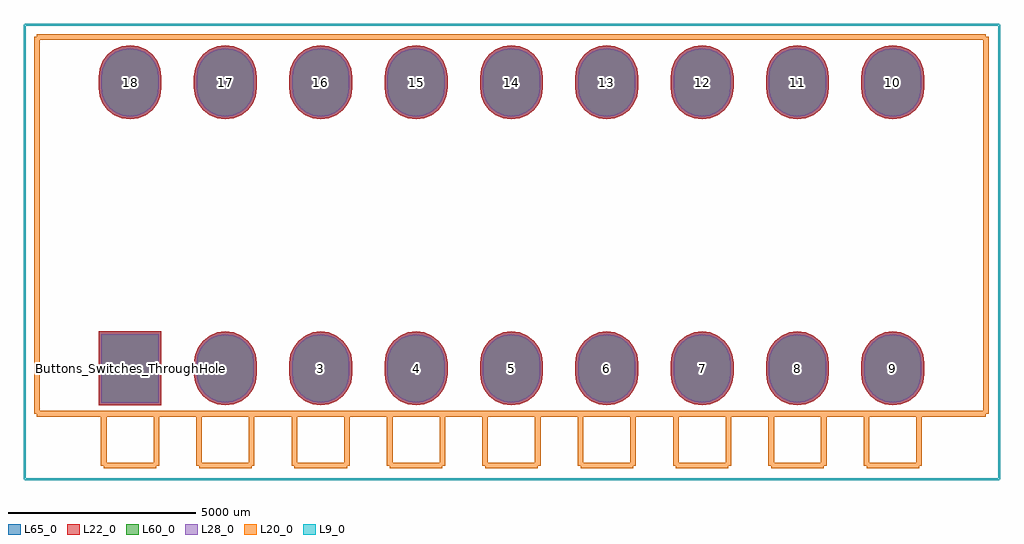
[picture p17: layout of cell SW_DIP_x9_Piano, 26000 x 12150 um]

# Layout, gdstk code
import gdstk
lib = gdstk.Library(unit=1e-6, precision=1e-09)
def R(c, l, rs):  # rectangles x0, y0, x1, y1
    for r in rs: c.add(gdstk.rectangle(r[:2], r[2:], *l))
def P(c, l, *ps):  # polygons
    for p in ps: c.add(gdstk.Polygon(p, *l))
L9_0 = (9, 0)
L20_0 = (20, 0)
L22_0 = (22, 0)
L28_0 = (28, 0)
L60_0 = (60, 0)
L65_0 = (65, 0)

sw_dip_x9_piano = lib.new_cell('SW_DIP_x9_Piano')
R(sw_dip_x9_piano, L22_0, [(-837,-987,837,987)])
P(sw_dip_x9_piano, L22_0, [(20320,6633),(20536.632,6661.52),(20738.5,6745.137),(20911.848,6878.152),(21044.863,7051.5),(21128.48,7253.368),(21157,7470),(21157,7770),(21128.48,7986.632),(21044.863,8188.5),(20911.848,8361.848),(20738.5,8494.863),(20536.632,8578.48),(20320,8607),(20103.368,8578.48),(19901.5,8494.863),(19728.152,8361.848),(19595.137,8188.5),(19511.52,7986.632),(19483,7770),(19483,7470),(19511.52,7253.368),(19595.137,7051.5),(19728.152,6878.152),(19901.5,6745.137),(20103.368,6661.52)],
  [(20320,-987),(20536.632,-958.48),(20738.5,-874.863),(20911.848,-741.848),(21044.863,-568.5),(21128.48,-366.632),(21157,-150),(21157,150),(21128.48,366.632),(21044.863,568.5),(20911.848,741.848),(20738.5,874.863),(20536.632,958.48),(20320,987),(20103.368,958.48),(19901.5,874.863),(19728.152,741.848),(19595.137,568.5),(19511.52,366.632),(19483,150),(19483,-150),(19511.52,-366.632),(19595.137,-568.5),(19728.152,-741.848),(19901.5,-874.863),(20103.368,-958.48)],
  [(17780,6633),(17996.632,6661.52),(18198.5,6745.137),(18371.848,6878.152),(18504.863,7051.5),(18588.48,7253.368),(18617,7470),(18617,7770),(18588.48,7986.632),(18504.863,8188.5),(18371.848,8361.848),(18198.5,8494.863),(17996.632,8578.48),(17780,8607),(17563.368,8578.48),(17361.5,8494.863),(17188.152,8361.848),(17055.137,8188.5),(16971.52,7986.632),(16943,7770),(16943,7470),(16971.52,7253.368),(17055.137,7051.5),(17188.152,6878.152),(17361.5,6745.137),(17563.368,6661.52)],
  [(17780,-987),(17996.632,-958.48),(18198.5,-874.863),(18371.848,-741.848),(18504.863,-568.5),(18588.48,-366.632),(18617,-150),(18617,150),(18588.48,366.632),(18504.863,568.5),(18371.848,741.848),(18198.5,874.863),(17996.632,958.48),(17780,987),(17563.368,958.48),(17361.5,874.863),(17188.152,741.848),(17055.137,568.5),(16971.52,366.632),(16943,150),(16943,-150),(16971.52,-366.632),(17055.137,-568.5),(17188.152,-741.848),(17361.5,-874.863),(17563.368,-958.48)],
  [(15240,6633),(15456.632,6661.52),(15658.5,6745.137),(15831.848,6878.152),(15964.863,7051.5),(16048.48,7253.368),(16077,7470),(16077,7770),(16048.48,7986.632),(15964.863,8188.5),(15831.848,8361.848),(15658.5,8494.863),(15456.632,8578.48),(15240,8607),(15023.368,8578.48),(14821.5,8494.863),(14648.152,8361.848),(14515.137,8188.5),(14431.52,7986.632),(14403,7770),(14403,7470),(14431.52,7253.368),(14515.137,7051.5),(14648.152,6878.152),(14821.5,6745.137),(15023.368,6661.52)],
  [(15240,-987),(15456.632,-958.48),(15658.5,-874.863),(15831.848,-741.848),(15964.863,-568.5),(16048.48,-366.632),(16077,-150),(16077,150),(16048.48,366.632),(15964.863,568.5),(15831.848,741.848),(15658.5,874.863),(15456.632,958.48),(15240,987),(15023.368,958.48),(14821.5,874.863),(14648.152,741.848),(14515.137,568.5),(14431.52,366.632),(14403,150),(14403,-150),(14431.52,-366.632),(14515.137,-568.5),(14648.152,-741.848),(14821.5,-874.863),(15023.368,-958.48)],
  [(12700,6633),(12916.632,6661.52),(13118.5,6745.137),(13291.848,6878.152),(13424.863,7051.5),(13508.48,7253.368),(13537,7470),(13537,7770),(13508.48,7986.632),(13424.863,8188.5),(13291.848,8361.848),(13118.5,8494.863),(12916.632,8578.48),(12700,8607),(12483.368,8578.48),(12281.5,8494.863),(12108.152,8361.848),(11975.137,8188.5),(11891.52,7986.632),(11863,7770),(11863,7470),(11891.52,7253.368),(11975.137,7051.5),(12108.152,6878.152),(12281.5,6745.137),(12483.368,6661.52)],
  [(12700,-987),(12916.632,-958.48),(13118.5,-874.863),(13291.848,-741.848),(13424.863,-568.5),(13508.48,-366.632),(13537,-150),(13537,150),(13508.48,366.632),(13424.863,568.5),(13291.848,741.848),(13118.5,874.863),(12916.632,958.48),(12700,987),(12483.368,958.48),(12281.5,874.863),(12108.152,741.848),(11975.137,568.5),(11891.52,366.632),(11863,150),(11863,-150),(11891.52,-366.632),(11975.137,-568.5),(12108.152,-741.848),(12281.5,-874.863),(12483.368,-958.48)],
  [(10160,6633),(10376.632,6661.52),(10578.5,6745.137),(10751.848,6878.152),(10884.863,7051.5),(10968.48,7253.368),(10997,7470),(10997,7770),(10968.48,7986.632),(10884.863,8188.5),(10751.848,8361.848),(10578.5,8494.863),(10376.632,8578.48),(10160,8607),(9943.368,8578.48),(9741.5,8494.863),(9568.152,8361.848),(9435.137,8188.5),(9351.52,7986.632),(9323,7770),(9323,7470),(9351.52,7253.368),(9435.137,7051.5),(9568.152,6878.152),(9741.5,6745.137),(9943.368,6661.52)],
  [(10160,-987),(10376.632,-958.48),(10578.5,-874.863),(10751.848,-741.848),(10884.863,-568.5),(10968.48,-366.632),(10997,-150),(10997,150),(10968.48,366.632),(10884.863,568.5),(10751.848,741.848),(10578.5,874.863),(10376.632,958.48),(10160,987),(9943.368,958.48),(9741.5,874.863),(9568.152,741.848),(9435.137,568.5),(9351.52,366.632),(9323,150),(9323,-150),(9351.52,-366.632),(9435.137,-568.5),(9568.152,-741.848),(9741.5,-874.863),(9943.368,-958.48)],
  [(7620,6633),(7836.632,6661.52),(8038.5,6745.137),(8211.848,6878.152),(8344.863,7051.5),(8428.48,7253.368),(8457,7470),(8457,7770),(8428.48,7986.632),(8344.863,8188.5),(8211.848,8361.848),(8038.5,8494.863),(7836.632,8578.48),(7620,8607),(7403.368,8578.48),(7201.5,8494.863),(7028.152,8361.848),(6895.137,8188.5),(6811.52,7986.632),(6783,7770),(6783,7470),(6811.52,7253.368),(6895.137,7051.5),(7028.152,6878.152),(7201.5,6745.137),(7403.368,6661.52)],
  [(7620,-987),(7836.632,-958.48),(8038.5,-874.863),(8211.848,-741.848),(8344.863,-568.5),(8428.48,-366.632),(8457,-150),(8457,150),(8428.48,366.632),(8344.863,568.5),(8211.848,741.848),(8038.5,874.863),(7836.632,958.48),(7620,987),(7403.368,958.48),(7201.5,874.863),(7028.152,741.848),(6895.137,568.5),(6811.52,366.632),(6783,150),(6783,-150),(6811.52,-366.632),(6895.137,-568.5),(7028.152,-741.848),(7201.5,-874.863),(7403.368,-958.48)],
  [(5080,6633),(5296.632,6661.52),(5498.5,6745.137),(5671.848,6878.152),(5804.863,7051.5),(5888.48,7253.368),(5917,7470),(5917,7770),(5888.48,7986.632),(5804.863,8188.5),(5671.848,8361.848),(5498.5,8494.863),(5296.632,8578.48),(5080,8607),(4863.368,8578.48),(4661.5,8494.863),(4488.152,8361.848),(4355.137,8188.5),(4271.52,7986.632),(4243,7770),(4243,7470),(4271.52,7253.368),(4355.137,7051.5),(4488.152,6878.152),(4661.5,6745.137),(4863.368,6661.52)],
  [(5080,-987),(5296.632,-958.48),(5498.5,-874.863),(5671.848,-741.848),(5804.863,-568.5),(5888.48,-366.632),(5917,-150),(5917,150),(5888.48,366.632),(5804.863,568.5),(5671.848,741.848),(5498.5,874.863),(5296.632,958.48),(5080,987),(4863.368,958.48),(4661.5,874.863),(4488.152,741.848),(4355.137,568.5),(4271.52,366.632),(4243,150),(4243,-150),(4271.52,-366.632),(4355.137,-568.5),(4488.152,-741.848),(4661.5,-874.863),(4863.368,-958.48)],
  [(2540,6633),(2756.632,6661.52),(2958.5,6745.137),(3131.848,6878.152),(3264.863,7051.5),(3348.48,7253.368),(3377,7470),(3377,7770),(3348.48,7986.632),(3264.863,8188.5),(3131.848,8361.848),(2958.5,8494.863),(2756.632,8578.48),(2540,8607),(2323.368,8578.48),(2121.5,8494.863),(1948.152,8361.848),(1815.137,8188.5),(1731.52,7986.632),(1703,7770),(1703,7470),(1731.52,7253.368),(1815.137,7051.5),(1948.152,6878.152),(2121.5,6745.137),(2323.368,6661.52)],
  [(2540,-987),(2756.632,-958.48),(2958.5,-874.863),(3131.848,-741.848),(3264.863,-568.5),(3348.48,-366.632),(3377,-150),(3377,150),(3348.48,366.632),(3264.863,568.5),(3131.848,741.848),(2958.5,874.863),(2756.632,958.48),(2540,987),(2323.368,958.48),(2121.5,874.863),(1948.152,741.848),(1815.137,568.5),(1731.52,366.632),(1703,150),(1703,-150),(1731.52,-366.632),(1815.137,-568.5),(1948.152,-741.848),(2121.5,-874.863),(2323.368,-958.48)],
  [(0,6633),(216.632,6661.52),(418.5,6745.137),(591.848,6878.152),(724.863,7051.5),(808.48,7253.368),(837,7470),(837,7770),(808.48,7986.632),(724.863,8188.5),(591.848,8361.848),(418.5,8494.863),(216.632,8578.48),(0,8607),(-216.632,8578.48),(-418.5,8494.863),(-591.848,8361.848),(-724.863,8188.5),(-808.48,7986.632),(-837,7770),(-837,7470),(-808.48,7253.368),(-724.863,7051.5),(-591.848,6878.152),(-418.5,6745.137),(-216.632,6661.52)])
R(sw_dip_x9_piano, L28_0, [(-762,-912,762,912)])
P(sw_dip_x9_piano, L28_0, [(20320,6708),(20517.22,6733.965),(20701,6810.089),(20858.815,6931.185),(20979.911,7089),(21056.035,7272.78),(21082,7470),(21082,7770),(21056.035,7967.22),(20979.911,8151),(20858.815,8308.815),(20701,8429.911),(20517.22,8506.035),(20320,8532),(20122.78,8506.035),(19939,8429.911),(19781.185,8308.815),(19660.089,8151),(19583.965,7967.22),(19558,7770),(19558,7470),(19583.965,7272.78),(19660.089,7089),(19781.185,6931.185),(19939,6810.089),(20122.78,6733.965)],
  [(20320,-912),(20517.22,-886.035),(20701,-809.911),(20858.815,-688.815),(20979.911,-531),(21056.035,-347.22),(21082,-150),(21082,150),(21056.035,347.22),(20979.911,531),(20858.815,688.815),(20701,809.911),(20517.22,886.035),(20320,912),(20122.78,886.035),(19939,809.911),(19781.185,688.815),(19660.089,531),(19583.965,347.22),(19558,150),(19558,-150),(19583.965,-347.22),(19660.089,-531),(19781.185,-688.815),(19939,-809.911),(20122.78,-886.035)],
  [(17780,6708),(17977.22,6733.965),(18161,6810.089),(18318.815,6931.185),(18439.911,7089),(18516.035,7272.78),(18542,7470),(18542,7770),(18516.035,7967.22),(18439.911,8151),(18318.815,8308.815),(18161,8429.911),(17977.22,8506.035),(17780,8532),(17582.78,8506.035),(17399,8429.911),(17241.185,8308.815),(17120.089,8151),(17043.965,7967.22),(17018,7770),(17018,7470),(17043.965,7272.78),(17120.089,7089),(17241.185,6931.185),(17399,6810.089),(17582.78,6733.965)],
  [(17780,-912),(17977.22,-886.035),(18161,-809.911),(18318.815,-688.815),(18439.911,-531),(18516.035,-347.22),(18542,-150),(18542,150),(18516.035,347.22),(18439.911,531),(18318.815,688.815),(18161,809.911),(17977.22,886.035),(17780,912),(17582.78,886.035),(17399,809.911),(17241.185,688.815),(17120.089,531),(17043.965,347.22),(17018,150),(17018,-150),(17043.965,-347.22),(17120.089,-531),(17241.185,-688.815),(17399,-809.911),(17582.78,-886.035)],
  [(15240,6708),(15437.22,6733.965),(15621,6810.089),(15778.815,6931.185),(15899.911,7089),(15976.035,7272.78),(16002,7470),(16002,7770),(15976.035,7967.22),(15899.911,8151),(15778.815,8308.815),(15621,8429.911),(15437.22,8506.035),(15240,8532),(15042.78,8506.035),(14859,8429.911),(14701.185,8308.815),(14580.089,8151),(14503.965,7967.22),(14478,7770),(14478,7470),(14503.965,7272.78),(14580.089,7089),(14701.185,6931.185),(14859,6810.089),(15042.78,6733.965)],
  [(15240,-912),(15437.22,-886.035),(15621,-809.911),(15778.815,-688.815),(15899.911,-531),(15976.035,-347.22),(16002,-150),(16002,150),(15976.035,347.22),(15899.911,531),(15778.815,688.815),(15621,809.911),(15437.22,886.035),(15240,912),(15042.78,886.035),(14859,809.911),(14701.185,688.815),(14580.089,531),(14503.965,347.22),(14478,150),(14478,-150),(14503.965,-347.22),(14580.089,-531),(14701.185,-688.815),(14859,-809.911),(15042.78,-886.035)],
  [(12700,6708),(12897.22,6733.965),(13081,6810.089),(13238.815,6931.185),(13359.911,7089),(13436.035,7272.78),(13462,7470),(13462,7770),(13436.035,7967.22),(13359.911,8151),(13238.815,8308.815),(13081,8429.911),(12897.22,8506.035),(12700,8532),(12502.78,8506.035),(12319,8429.911),(12161.185,8308.815),(12040.089,8151),(11963.965,7967.22),(11938,7770),(11938,7470),(11963.965,7272.78),(12040.089,7089),(12161.185,6931.185),(12319,6810.089),(12502.78,6733.965)],
  [(12700,-912),(12897.22,-886.035),(13081,-809.911),(13238.815,-688.815),(13359.911,-531),(13436.035,-347.22),(13462,-150),(13462,150),(13436.035,347.22),(13359.911,531),(13238.815,688.815),(13081,809.911),(12897.22,886.035),(12700,912),(12502.78,886.035),(12319,809.911),(12161.185,688.815),(12040.089,531),(11963.965,347.22),(11938,150),(11938,-150),(11963.965,-347.22),(12040.089,-531),(12161.185,-688.815),(12319,-809.911),(12502.78,-886.035)],
  [(10160,6708),(10357.22,6733.965),(10541,6810.089),(10698.815,6931.185),(10819.911,7089),(10896.035,7272.78),(10922,7470),(10922,7770),(10896.035,7967.22),(10819.911,8151),(10698.815,8308.815),(10541,8429.911),(10357.22,8506.035),(10160,8532),(9962.78,8506.035),(9779,8429.911),(9621.185,8308.815),(9500.089,8151),(9423.965,7967.22),(9398,7770),(9398,7470),(9423.965,7272.78),(9500.089,7089),(9621.185,6931.185),(9779,6810.089),(9962.78,6733.965)],
  [(10160,-912),(10357.22,-886.035),(10541,-809.911),(10698.815,-688.815),(10819.911,-531),(10896.035,-347.22),(10922,-150),(10922,150),(10896.035,347.22),(10819.911,531),(10698.815,688.815),(10541,809.911),(10357.22,886.035),(10160,912),(9962.78,886.035),(9779,809.911),(9621.185,688.815),(9500.089,531),(9423.965,347.22),(9398,150),(9398,-150),(9423.965,-347.22),(9500.089,-531),(9621.185,-688.815),(9779,-809.911),(9962.78,-886.035)],
  [(7620,6708),(7817.22,6733.965),(8001,6810.089),(8158.815,6931.185),(8279.911,7089),(8356.035,7272.78),(8382,7470),(8382,7770),(8356.035,7967.22),(8279.911,8151),(8158.815,8308.815),(8001,8429.911),(7817.22,8506.035),(7620,8532),(7422.78,8506.035),(7239,8429.911),(7081.185,8308.815),(6960.089,8151),(6883.965,7967.22),(6858,7770),(6858,7470),(6883.965,7272.78),(6960.089,7089),(7081.185,6931.185),(7239,6810.089),(7422.78,6733.965)],
  [(7620,-912),(7817.22,-886.035),(8001,-809.911),(8158.815,-688.815),(8279.911,-531),(8356.035,-347.22),(8382,-150),(8382,150),(8356.035,347.22),(8279.911,531),(8158.815,688.815),(8001,809.911),(7817.22,886.035),(7620,912),(7422.78,886.035),(7239,809.911),(7081.185,688.815),(6960.089,531),(6883.965,347.22),(6858,150),(6858,-150),(6883.965,-347.22),(6960.089,-531),(7081.185,-688.815),(7239,-809.911),(7422.78,-886.035)],
  [(5080,6708),(5277.22,6733.965),(5461,6810.089),(5618.815,6931.185),(5739.911,7089),(5816.035,7272.78),(5842,7470),(5842,7770),(5816.035,7967.22),(5739.911,8151),(5618.815,8308.815),(5461,8429.911),(5277.22,8506.035),(5080,8532),(4882.78,8506.035),(4699,8429.911),(4541.185,8308.815),(4420.089,8151),(4343.965,7967.22),(4318,7770),(4318,7470),(4343.965,7272.78),(4420.089,7089),(4541.185,6931.185),(4699,6810.089),(4882.78,6733.965)],
  [(5080,-912),(5277.22,-886.035),(5461,-809.911),(5618.815,-688.815),(5739.911,-531),(5816.035,-347.22),(5842,-150),(5842,150),(5816.035,347.22),(5739.911,531),(5618.815,688.815),(5461,809.911),(5277.22,886.035),(5080,912),(4882.78,886.035),(4699,809.911),(4541.185,688.815),(4420.089,531),(4343.965,347.22),(4318,150),(4318,-150),(4343.965,-347.22),(4420.089,-531),(4541.185,-688.815),(4699,-809.911),(4882.78,-886.035)],
  [(2540,6708),(2737.22,6733.965),(2921,6810.089),(3078.815,6931.185),(3199.911,7089),(3276.035,7272.78),(3302,7470),(3302,7770),(3276.035,7967.22),(3199.911,8151),(3078.815,8308.815),(2921,8429.911),(2737.22,8506.035),(2540,8532),(2342.78,8506.035),(2159,8429.911),(2001.185,8308.815),(1880.089,8151),(1803.965,7967.22),(1778,7770),(1778,7470),(1803.965,7272.78),(1880.089,7089),(2001.185,6931.185),(2159,6810.089),(2342.78,6733.965)],
  [(2540,-912),(2737.22,-886.035),(2921,-809.911),(3078.815,-688.815),(3199.911,-531),(3276.035,-347.22),(3302,-150),(3302,150),(3276.035,347.22),(3199.911,531),(3078.815,688.815),(2921,809.911),(2737.22,886.035),(2540,912),(2342.78,886.035),(2159,809.911),(2001.185,688.815),(1880.089,531),(1803.965,347.22),(1778,150),(1778,-150),(1803.965,-347.22),(1880.089,-531),(2001.185,-688.815),(2159,-809.911),(2342.78,-886.035)],
  [(0,6708),(197.22,6733.965),(381,6810.089),(538.815,6931.185),(659.911,7089),(736.035,7272.78),(762,7470),(762,7770),(736.035,7967.22),(659.911,8151),(538.815,8308.815),(381,8429.911),(197.22,8506.035),(0,8532),(-197.22,8506.035),(-381,8429.911),(-538.815,8308.815),(-659.911,8151),(-736.035,7967.22),(-762,7770),(-762,7470),(-736.035,7272.78),(-659.911,7089),(-538.815,6931.185),(-381,6810.089),(-197.22,6733.965)])
R(sw_dip_x9_piano, L60_0, [(-762,-912,762,912)])
P(sw_dip_x9_piano, L60_0, [(20320,6708),(20517.22,6733.965),(20701,6810.089),(20858.815,6931.185),(20979.911,7089),(21056.035,7272.78),(21082,7470),(21082,7770),(21056.035,7967.22),(20979.911,8151),(20858.815,8308.815),(20701,8429.911),(20517.22,8506.035),(20320,8532),(20122.78,8506.035),(19939,8429.911),(19781.185,8308.815),(19660.089,8151),(19583.965,7967.22),(19558,7770),(19558,7470),(19583.965,7272.78),(19660.089,7089),(19781.185,6931.185),(19939,6810.089),(20122.78,6733.965)],
  [(20320,-912),(20517.22,-886.035),(20701,-809.911),(20858.815,-688.815),(20979.911,-531),(21056.035,-347.22),(21082,-150),(21082,150),(21056.035,347.22),(20979.911,531),(20858.815,688.815),(20701,809.911),(20517.22,886.035),(20320,912),(20122.78,886.035),(19939,809.911),(19781.185,688.815),(19660.089,531),(19583.965,347.22),(19558,150),(19558,-150),(19583.965,-347.22),(19660.089,-531),(19781.185,-688.815),(19939,-809.911),(20122.78,-886.035)],
  [(17780,6708),(17977.22,6733.965),(18161,6810.089),(18318.815,6931.185),(18439.911,7089),(18516.035,7272.78),(18542,7470),(18542,7770),(18516.035,7967.22),(18439.911,8151),(18318.815,8308.815),(18161,8429.911),(17977.22,8506.035),(17780,8532),(17582.78,8506.035),(17399,8429.911),(17241.185,8308.815),(17120.089,8151),(17043.965,7967.22),(17018,7770),(17018,7470),(17043.965,7272.78),(17120.089,7089),(17241.185,6931.185),(17399,6810.089),(17582.78,6733.965)],
  [(17780,-912),(17977.22,-886.035),(18161,-809.911),(18318.815,-688.815),(18439.911,-531),(18516.035,-347.22),(18542,-150),(18542,150),(18516.035,347.22),(18439.911,531),(18318.815,688.815),(18161,809.911),(17977.22,886.035),(17780,912),(17582.78,886.035),(17399,809.911),(17241.185,688.815),(17120.089,531),(17043.965,347.22),(17018,150),(17018,-150),(17043.965,-347.22),(17120.089,-531),(17241.185,-688.815),(17399,-809.911),(17582.78,-886.035)],
  [(15240,6708),(15437.22,6733.965),(15621,6810.089),(15778.815,6931.185),(15899.911,7089),(15976.035,7272.78),(16002,7470),(16002,7770),(15976.035,7967.22),(15899.911,8151),(15778.815,8308.815),(15621,8429.911),(15437.22,8506.035),(15240,8532),(15042.78,8506.035),(14859,8429.911),(14701.185,8308.815),(14580.089,8151),(14503.965,7967.22),(14478,7770),(14478,7470),(14503.965,7272.78),(14580.089,7089),(14701.185,6931.185),(14859,6810.089),(15042.78,6733.965)],
  [(15240,-912),(15437.22,-886.035),(15621,-809.911),(15778.815,-688.815),(15899.911,-531),(15976.035,-347.22),(16002,-150),(16002,150),(15976.035,347.22),(15899.911,531),(15778.815,688.815),(15621,809.911),(15437.22,886.035),(15240,912),(15042.78,886.035),(14859,809.911),(14701.185,688.815),(14580.089,531),(14503.965,347.22),(14478,150),(14478,-150),(14503.965,-347.22),(14580.089,-531),(14701.185,-688.815),(14859,-809.911),(15042.78,-886.035)],
  [(12700,6708),(12897.22,6733.965),(13081,6810.089),(13238.815,6931.185),(13359.911,7089),(13436.035,7272.78),(13462,7470),(13462,7770),(13436.035,7967.22),(13359.911,8151),(13238.815,8308.815),(13081,8429.911),(12897.22,8506.035),(12700,8532),(12502.78,8506.035),(12319,8429.911),(12161.185,8308.815),(12040.089,8151),(11963.965,7967.22),(11938,7770),(11938,7470),(11963.965,7272.78),(12040.089,7089),(12161.185,6931.185),(12319,6810.089),(12502.78,6733.965)],
  [(12700,-912),(12897.22,-886.035),(13081,-809.911),(13238.815,-688.815),(13359.911,-531),(13436.035,-347.22),(13462,-150),(13462,150),(13436.035,347.22),(13359.911,531),(13238.815,688.815),(13081,809.911),(12897.22,886.035),(12700,912),(12502.78,886.035),(12319,809.911),(12161.185,688.815),(12040.089,531),(11963.965,347.22),(11938,150),(11938,-150),(11963.965,-347.22),(12040.089,-531),(12161.185,-688.815),(12319,-809.911),(12502.78,-886.035)],
  [(10160,6708),(10357.22,6733.965),(10541,6810.089),(10698.815,6931.185),(10819.911,7089),(10896.035,7272.78),(10922,7470),(10922,7770),(10896.035,7967.22),(10819.911,8151),(10698.815,8308.815),(10541,8429.911),(10357.22,8506.035),(10160,8532),(9962.78,8506.035),(9779,8429.911),(9621.185,8308.815),(9500.089,8151),(9423.965,7967.22),(9398,7770),(9398,7470),(9423.965,7272.78),(9500.089,7089),(9621.185,6931.185),(9779,6810.089),(9962.78,6733.965)],
  [(10160,-912),(10357.22,-886.035),(10541,-809.911),(10698.815,-688.815),(10819.911,-531),(10896.035,-347.22),(10922,-150),(10922,150),(10896.035,347.22),(10819.911,531),(10698.815,688.815),(10541,809.911),(10357.22,886.035),(10160,912),(9962.78,886.035),(9779,809.911),(9621.185,688.815),(9500.089,531),(9423.965,347.22),(9398,150),(9398,-150),(9423.965,-347.22),(9500.089,-531),(9621.185,-688.815),(9779,-809.911),(9962.78,-886.035)],
  [(7620,6708),(7817.22,6733.965),(8001,6810.089),(8158.815,6931.185),(8279.911,7089),(8356.035,7272.78),(8382,7470),(8382,7770),(8356.035,7967.22),(8279.911,8151),(8158.815,8308.815),(8001,8429.911),(7817.22,8506.035),(7620,8532),(7422.78,8506.035),(7239,8429.911),(7081.185,8308.815),(6960.089,8151),(6883.965,7967.22),(6858,7770),(6858,7470),(6883.965,7272.78),(6960.089,7089),(7081.185,6931.185),(7239,6810.089),(7422.78,6733.965)],
  [(7620,-912),(7817.22,-886.035),(8001,-809.911),(8158.815,-688.815),(8279.911,-531),(8356.035,-347.22),(8382,-150),(8382,150),(8356.035,347.22),(8279.911,531),(8158.815,688.815),(8001,809.911),(7817.22,886.035),(7620,912),(7422.78,886.035),(7239,809.911),(7081.185,688.815),(6960.089,531),(6883.965,347.22),(6858,150),(6858,-150),(6883.965,-347.22),(6960.089,-531),(7081.185,-688.815),(7239,-809.911),(7422.78,-886.035)],
  [(5080,6708),(5277.22,6733.965),(5461,6810.089),(5618.815,6931.185),(5739.911,7089),(5816.035,7272.78),(5842,7470),(5842,7770),(5816.035,7967.22),(5739.911,8151),(5618.815,8308.815),(5461,8429.911),(5277.22,8506.035),(5080,8532),(4882.78,8506.035),(4699,8429.911),(4541.185,8308.815),(4420.089,8151),(4343.965,7967.22),(4318,7770),(4318,7470),(4343.965,7272.78),(4420.089,7089),(4541.185,6931.185),(4699,6810.089),(4882.78,6733.965)],
  [(5080,-912),(5277.22,-886.035),(5461,-809.911),(5618.815,-688.815),(5739.911,-531),(5816.035,-347.22),(5842,-150),(5842,150),(5816.035,347.22),(5739.911,531),(5618.815,688.815),(5461,809.911),(5277.22,886.035),(5080,912),(4882.78,886.035),(4699,809.911),(4541.185,688.815),(4420.089,531),(4343.965,347.22),(4318,150),(4318,-150),(4343.965,-347.22),(4420.089,-531),(4541.185,-688.815),(4699,-809.911),(4882.78,-886.035)],
  [(2540,6708),(2737.22,6733.965),(2921,6810.089),(3078.815,6931.185),(3199.911,7089),(3276.035,7272.78),(3302,7470),(3302,7770),(3276.035,7967.22),(3199.911,8151),(3078.815,8308.815),(2921,8429.911),(2737.22,8506.035),(2540,8532),(2342.78,8506.035),(2159,8429.911),(2001.185,8308.815),(1880.089,8151),(1803.965,7967.22),(1778,7770),(1778,7470),(1803.965,7272.78),(1880.089,7089),(2001.185,6931.185),(2159,6810.089),(2342.78,6733.965)],
  [(2540,-912),(2737.22,-886.035),(2921,-809.911),(3078.815,-688.815),(3199.911,-531),(3276.035,-347.22),(3302,-150),(3302,150),(3276.035,347.22),(3199.911,531),(3078.815,688.815),(2921,809.911),(2737.22,886.035),(2540,912),(2342.78,886.035),(2159,809.911),(2001.185,688.815),(1880.089,531),(1803.965,347.22),(1778,150),(1778,-150),(1803.965,-347.22),(1880.089,-531),(2001.185,-688.815),(2159,-809.911),(2342.78,-886.035)],
  [(0,6708),(197.22,6733.965),(381,6810.089),(538.815,6931.185),(659.911,7089),(736.035,7272.78),(762,7470),(762,7770),(736.035,7967.22),(659.911,8151),(538.815,8308.815),(381,8429.911),(197.22,8506.035),(0,8532),(-197.22,8506.035),(-381,8429.911),(-538.815,8308.815),(-659.911,8151),(-736.035,7967.22),(-762,7770),(-762,7470),(-736.035,7272.78),(-659.911,7089),(-538.815,6931.185),(-381,6810.089),(-197.22,6733.965)])
R(sw_dip_x9_piano, L65_0, [(-837,-987,837,987)])
P(sw_dip_x9_piano, L65_0, [(20320,6633),(20536.632,6661.52),(20738.5,6745.137),(20911.848,6878.152),(21044.863,7051.5),(21128.48,7253.368),(21157,7470),(21157,7770),(21128.48,7986.632),(21044.863,8188.5),(20911.848,8361.848),(20738.5,8494.863),(20536.632,8578.48),(20320,8607),(20103.368,8578.48),(19901.5,8494.863),(19728.152,8361.848),(19595.137,8188.5),(19511.52,7986.632),(19483,7770),(19483,7470),(19511.52,7253.368),(19595.137,7051.5),(19728.152,6878.152),(19901.5,6745.137),(20103.368,6661.52)],
  [(20320,-987),(20536.632,-958.48),(20738.5,-874.863),(20911.848,-741.848),(21044.863,-568.5),(21128.48,-366.632),(21157,-150),(21157,150),(21128.48,366.632),(21044.863,568.5),(20911.848,741.848),(20738.5,874.863),(20536.632,958.48),(20320,987),(20103.368,958.48),(19901.5,874.863),(19728.152,741.848),(19595.137,568.5),(19511.52,366.632),(19483,150),(19483,-150),(19511.52,-366.632),(19595.137,-568.5),(19728.152,-741.848),(19901.5,-874.863),(20103.368,-958.48)],
  [(17780,6633),(17996.632,6661.52),(18198.5,6745.137),(18371.848,6878.152),(18504.863,7051.5),(18588.48,7253.368),(18617,7470),(18617,7770),(18588.48,7986.632),(18504.863,8188.5),(18371.848,8361.848),(18198.5,8494.863),(17996.632,8578.48),(17780,8607),(17563.368,8578.48),(17361.5,8494.863),(17188.152,8361.848),(17055.137,8188.5),(16971.52,7986.632),(16943,7770),(16943,7470),(16971.52,7253.368),(17055.137,7051.5),(17188.152,6878.152),(17361.5,6745.137),(17563.368,6661.52)],
  [(17780,-987),(17996.632,-958.48),(18198.5,-874.863),(18371.848,-741.848),(18504.863,-568.5),(18588.48,-366.632),(18617,-150),(18617,150),(18588.48,366.632),(18504.863,568.5),(18371.848,741.848),(18198.5,874.863),(17996.632,958.48),(17780,987),(17563.368,958.48),(17361.5,874.863),(17188.152,741.848),(17055.137,568.5),(16971.52,366.632),(16943,150),(16943,-150),(16971.52,-366.632),(17055.137,-568.5),(17188.152,-741.848),(17361.5,-874.863),(17563.368,-958.48)],
  [(15240,6633),(15456.632,6661.52),(15658.5,6745.137),(15831.848,6878.152),(15964.863,7051.5),(16048.48,7253.368),(16077,7470),(16077,7770),(16048.48,7986.632),(15964.863,8188.5),(15831.848,8361.848),(15658.5,8494.863),(15456.632,8578.48),(15240,8607),(15023.368,8578.48),(14821.5,8494.863),(14648.152,8361.848),(14515.137,8188.5),(14431.52,7986.632),(14403,7770),(14403,7470),(14431.52,7253.368),(14515.137,7051.5),(14648.152,6878.152),(14821.5,6745.137),(15023.368,6661.52)],
  [(15240,-987),(15456.632,-958.48),(15658.5,-874.863),(15831.848,-741.848),(15964.863,-568.5),(16048.48,-366.632),(16077,-150),(16077,150),(16048.48,366.632),(15964.863,568.5),(15831.848,741.848),(15658.5,874.863),(15456.632,958.48),(15240,987),(15023.368,958.48),(14821.5,874.863),(14648.152,741.848),(14515.137,568.5),(14431.52,366.632),(14403,150),(14403,-150),(14431.52,-366.632),(14515.137,-568.5),(14648.152,-741.848),(14821.5,-874.863),(15023.368,-958.48)],
  [(12700,6633),(12916.632,6661.52),(13118.5,6745.137),(13291.848,6878.152),(13424.863,7051.5),(13508.48,7253.368),(13537,7470),(13537,7770),(13508.48,7986.632),(13424.863,8188.5),(13291.848,8361.848),(13118.5,8494.863),(12916.632,8578.48),(12700,8607),(12483.368,8578.48),(12281.5,8494.863),(12108.152,8361.848),(11975.137,8188.5),(11891.52,7986.632),(11863,7770),(11863,7470),(11891.52,7253.368),(11975.137,7051.5),(12108.152,6878.152),(12281.5,6745.137),(12483.368,6661.52)],
  [(12700,-987),(12916.632,-958.48),(13118.5,-874.863),(13291.848,-741.848),(13424.863,-568.5),(13508.48,-366.632),(13537,-150),(13537,150),(13508.48,366.632),(13424.863,568.5),(13291.848,741.848),(13118.5,874.863),(12916.632,958.48),(12700,987),(12483.368,958.48),(12281.5,874.863),(12108.152,741.848),(11975.137,568.5),(11891.52,366.632),(11863,150),(11863,-150),(11891.52,-366.632),(11975.137,-568.5),(12108.152,-741.848),(12281.5,-874.863),(12483.368,-958.48)],
  [(10160,6633),(10376.632,6661.52),(10578.5,6745.137),(10751.848,6878.152),(10884.863,7051.5),(10968.48,7253.368),(10997,7470),(10997,7770),(10968.48,7986.632),(10884.863,8188.5),(10751.848,8361.848),(10578.5,8494.863),(10376.632,8578.48),(10160,8607),(9943.368,8578.48),(9741.5,8494.863),(9568.152,8361.848),(9435.137,8188.5),(9351.52,7986.632),(9323,7770),(9323,7470),(9351.52,7253.368),(9435.137,7051.5),(9568.152,6878.152),(9741.5,6745.137),(9943.368,6661.52)],
  [(10160,-987),(10376.632,-958.48),(10578.5,-874.863),(10751.848,-741.848),(10884.863,-568.5),(10968.48,-366.632),(10997,-150),(10997,150),(10968.48,366.632),(10884.863,568.5),(10751.848,741.848),(10578.5,874.863),(10376.632,958.48),(10160,987),(9943.368,958.48),(9741.5,874.863),(9568.152,741.848),(9435.137,568.5),(9351.52,366.632),(9323,150),(9323,-150),(9351.52,-366.632),(9435.137,-568.5),(9568.152,-741.848),(9741.5,-874.863),(9943.368,-958.48)],
  [(7620,6633),(7836.632,6661.52),(8038.5,6745.137),(8211.848,6878.152),(8344.863,7051.5),(8428.48,7253.368),(8457,7470),(8457,7770),(8428.48,7986.632),(8344.863,8188.5),(8211.848,8361.848),(8038.5,8494.863),(7836.632,8578.48),(7620,8607),(7403.368,8578.48),(7201.5,8494.863),(7028.152,8361.848),(6895.137,8188.5),(6811.52,7986.632),(6783,7770),(6783,7470),(6811.52,7253.368),(6895.137,7051.5),(7028.152,6878.152),(7201.5,6745.137),(7403.368,6661.52)],
  [(7620,-987),(7836.632,-958.48),(8038.5,-874.863),(8211.848,-741.848),(8344.863,-568.5),(8428.48,-366.632),(8457,-150),(8457,150),(8428.48,366.632),(8344.863,568.5),(8211.848,741.848),(8038.5,874.863),(7836.632,958.48),(7620,987),(7403.368,958.48),(7201.5,874.863),(7028.152,741.848),(6895.137,568.5),(6811.52,366.632),(6783,150),(6783,-150),(6811.52,-366.632),(6895.137,-568.5),(7028.152,-741.848),(7201.5,-874.863),(7403.368,-958.48)],
  [(5080,6633),(5296.632,6661.52),(5498.5,6745.137),(5671.848,6878.152),(5804.863,7051.5),(5888.48,7253.368),(5917,7470),(5917,7770),(5888.48,7986.632),(5804.863,8188.5),(5671.848,8361.848),(5498.5,8494.863),(5296.632,8578.48),(5080,8607),(4863.368,8578.48),(4661.5,8494.863),(4488.152,8361.848),(4355.137,8188.5),(4271.52,7986.632),(4243,7770),(4243,7470),(4271.52,7253.368),(4355.137,7051.5),(4488.152,6878.152),(4661.5,6745.137),(4863.368,6661.52)],
  [(5080,-987),(5296.632,-958.48),(5498.5,-874.863),(5671.848,-741.848),(5804.863,-568.5),(5888.48,-366.632),(5917,-150),(5917,150),(5888.48,366.632),(5804.863,568.5),(5671.848,741.848),(5498.5,874.863),(5296.632,958.48),(5080,987),(4863.368,958.48),(4661.5,874.863),(4488.152,741.848),(4355.137,568.5),(4271.52,366.632),(4243,150),(4243,-150),(4271.52,-366.632),(4355.137,-568.5),(4488.152,-741.848),(4661.5,-874.863),(4863.368,-958.48)],
  [(2540,6633),(2756.632,6661.52),(2958.5,6745.137),(3131.848,6878.152),(3264.863,7051.5),(3348.48,7253.368),(3377,7470),(3377,7770),(3348.48,7986.632),(3264.863,8188.5),(3131.848,8361.848),(2958.5,8494.863),(2756.632,8578.48),(2540,8607),(2323.368,8578.48),(2121.5,8494.863),(1948.152,8361.848),(1815.137,8188.5),(1731.52,7986.632),(1703,7770),(1703,7470),(1731.52,7253.368),(1815.137,7051.5),(1948.152,6878.152),(2121.5,6745.137),(2323.368,6661.52)],
  [(2540,-987),(2756.632,-958.48),(2958.5,-874.863),(3131.848,-741.848),(3264.863,-568.5),(3348.48,-366.632),(3377,-150),(3377,150),(3348.48,366.632),(3264.863,568.5),(3131.848,741.848),(2958.5,874.863),(2756.632,958.48),(2540,987),(2323.368,958.48),(2121.5,874.863),(1948.152,741.848),(1815.137,568.5),(1731.52,366.632),(1703,150),(1703,-150),(1731.52,-366.632),(1815.137,-568.5),(1948.152,-741.848),(2121.5,-874.863),(2323.368,-958.48)],
  [(0,6633),(216.632,6661.52),(418.5,6745.137),(591.848,6878.152),(724.863,7051.5),(808.48,7253.368),(837,7470),(837,7770),(808.48,7986.632),(724.863,8188.5),(591.848,8361.848),(418.5,8494.863),(216.632,8578.48),(0,8607),(-216.632,8578.48),(-418.5,8494.863),(-591.848,8361.848),(-724.863,8188.5),(-808.48,7986.632),(-837,7770),(-837,7470),(-808.48,7253.368),(-724.863,7051.5),(-591.848,6878.152),(-418.5,6745.137),(-216.632,6661.52)])
sw_dip_x9_piano.add(gdstk.FlexPath([(22800,-1210),(-2480,-1210)], 149.998, ends="flush", simple_path=True, layer=20, datatype=0))  # L20_0
sw_dip_x9_piano.add(gdstk.FlexPath([(22800,8830),(22800,-1210)], 149.998, ends="flush", simple_path=True, layer=20, datatype=0))  # L20_0
sw_dip_x9_piano.add(gdstk.FlexPath([(-2480,8830),(22800,8830)], 149.998, ends="flush", simple_path=True, layer=20, datatype=0))  # L20_0
sw_dip_x9_piano.add(gdstk.FlexPath([(-2480,-1210),(-2480,8830)], 149.998, ends="flush", simple_path=True, layer=20, datatype=0))  # L20_0
sw_dip_x9_piano.add(gdstk.FlexPath([(23150,9150),(-2800,9150)], 50, ends="flush", simple_path=True, layer=9, datatype=0))  # L9_0
sw_dip_x9_piano.add(gdstk.FlexPath([(23150,-2950),(23150,9150)], 50, ends="flush", simple_path=True, layer=9, datatype=0))  # L9_0
sw_dip_x9_piano.add(gdstk.FlexPath([(-2800,-2950),(23150,-2950)], 50, ends="flush", simple_path=True, layer=9, datatype=0))  # L9_0
sw_dip_x9_piano.add(gdstk.FlexPath([(-2800,9150),(-2800,-2950)], 50, ends="flush", simple_path=True, layer=9, datatype=0))  # L9_0
sw_dip_x9_piano.add(gdstk.FlexPath([(21020,-2590),(21020,-1220)], 149.998, ends="flush", simple_path=True, layer=20, datatype=0))  # L20_0
sw_dip_x9_piano.add(gdstk.FlexPath([(19620,-2590),(21020,-2590)], 149.998, ends="flush", simple_path=True, layer=20, datatype=0))  # L20_0
sw_dip_x9_piano.add(gdstk.FlexPath([(19620,-1220),(19620,-2590)], 149.998, ends="flush", simple_path=True, layer=20, datatype=0))  # L20_0
sw_dip_x9_piano.add(gdstk.FlexPath([(18480,-2590),(18480,-1220)], 149.998, ends="flush", simple_path=True, layer=20, datatype=0))  # L20_0
sw_dip_x9_piano.add(gdstk.FlexPath([(17080,-2590),(18480,-2590)], 149.998, ends="flush", simple_path=True, layer=20, datatype=0))  # L20_0
sw_dip_x9_piano.add(gdstk.FlexPath([(17080,-1220),(17080,-2590)], 149.998, ends="flush", simple_path=True, layer=20, datatype=0))  # L20_0
sw_dip_x9_piano.add(gdstk.FlexPath([(15940,-2590),(15940,-1220)], 149.998, ends="flush", simple_path=True, layer=20, datatype=0))  # L20_0
sw_dip_x9_piano.add(gdstk.FlexPath([(14540,-2590),(15940,-2590)], 149.998, ends="flush", simple_path=True, layer=20, datatype=0))  # L20_0
sw_dip_x9_piano.add(gdstk.FlexPath([(14540,-1220),(14540,-2590)], 149.998, ends="flush", simple_path=True, layer=20, datatype=0))  # L20_0
sw_dip_x9_piano.add(gdstk.FlexPath([(13400,-2590),(13400,-1220)], 149.998, ends="flush", simple_path=True, layer=20, datatype=0))  # L20_0
sw_dip_x9_piano.add(gdstk.FlexPath([(12000,-2590),(13400,-2590)], 149.998, ends="flush", simple_path=True, layer=20, datatype=0))  # L20_0
sw_dip_x9_piano.add(gdstk.FlexPath([(12000,-1220),(12000,-2590)], 149.998, ends="flush", simple_path=True, layer=20, datatype=0))  # L20_0
sw_dip_x9_piano.add(gdstk.FlexPath([(10860,-2590),(10860,-1220)], 149.998, ends="flush", simple_path=True, layer=20, datatype=0))  # L20_0
sw_dip_x9_piano.add(gdstk.FlexPath([(9460,-2590),(10860,-2590)], 149.998, ends="flush", simple_path=True, layer=20, datatype=0))  # L20_0
sw_dip_x9_piano.add(gdstk.FlexPath([(9460,-1220),(9460,-2590)], 149.998, ends="flush", simple_path=True, layer=20, datatype=0))  # L20_0
sw_dip_x9_piano.add(gdstk.FlexPath([(8320,-2590),(8320,-1220)], 149.998, ends="flush", simple_path=True, layer=20, datatype=0))  # L20_0
sw_dip_x9_piano.add(gdstk.FlexPath([(6920,-2590),(8320,-2590)], 149.998, ends="flush", simple_path=True, layer=20, datatype=0))  # L20_0
sw_dip_x9_piano.add(gdstk.FlexPath([(6920,-1220),(6920,-2590)], 149.998, ends="flush", simple_path=True, layer=20, datatype=0))  # L20_0
sw_dip_x9_piano.add(gdstk.FlexPath([(5780,-2590),(5780,-1220)], 149.998, ends="flush", simple_path=True, layer=20, datatype=0))  # L20_0
sw_dip_x9_piano.add(gdstk.FlexPath([(4380,-2590),(5780,-2590)], 149.998, ends="flush", simple_path=True, layer=20, datatype=0))  # L20_0
sw_dip_x9_piano.add(gdstk.FlexPath([(4380,-1220),(4380,-2590)], 149.998, ends="flush", simple_path=True, layer=20, datatype=0))  # L20_0
sw_dip_x9_piano.add(gdstk.FlexPath([(3240,-2590),(3240,-1220)], 149.998, ends="flush", simple_path=True, layer=20, datatype=0))  # L20_0
sw_dip_x9_piano.add(gdstk.FlexPath([(1840,-2590),(3240,-2590)], 149.998, ends="flush", simple_path=True, layer=20, datatype=0))  # L20_0
sw_dip_x9_piano.add(gdstk.FlexPath([(1840,-1220),(1840,-2590)], 149.998, ends="flush", simple_path=True, layer=20, datatype=0))  # L20_0
sw_dip_x9_piano.add(gdstk.FlexPath([(700,-2590),(700,-1220)], 149.998, ends="flush", simple_path=True, layer=20, datatype=0))  # L20_0
sw_dip_x9_piano.add(gdstk.FlexPath([(-700,-2590),(700,-2590)], 149.998, ends="flush", simple_path=True, layer=20, datatype=0))  # L20_0
sw_dip_x9_piano.add(gdstk.FlexPath([(-700,-1220),(-700,-2590)], 149.998, ends="flush", simple_path=True, layer=20, datatype=0))  # L20_0
sw_dip_x9_piano.add(gdstk.Label('Buttons_Switches_ThroughHole.3dshapes/SW_DIP_x9_Piano.wrl', (0,0), layer=12, texttype=0))
sw_dip_x9_piano.add(gdstk.Label('10', (20320,7620), layer=28, texttype=0))
sw_dip_x9_piano.add(gdstk.Label('9', (20320,0), layer=28, texttype=0))
sw_dip_x9_piano.add(gdstk.Label('11', (17780,7620), layer=28, texttype=0))
sw_dip_x9_piano.add(gdstk.Label('8', (17780,0), layer=28, texttype=0))
sw_dip_x9_piano.add(gdstk.Label('12', (15240,7620), layer=28, texttype=0))
sw_dip_x9_piano.add(gdstk.Label('7', (15240,0), layer=28, texttype=0))
sw_dip_x9_piano.add(gdstk.Label('13', (12700,7620), layer=28, texttype=0))
sw_dip_x9_piano.add(gdstk.Label('6', (12700,0), layer=28, texttype=0))
sw_dip_x9_piano.add(gdstk.Label('14', (10160,7620), layer=28, texttype=0))
sw_dip_x9_piano.add(gdstk.Label('5', (10160,0), layer=28, texttype=0))
sw_dip_x9_piano.add(gdstk.Label('15', (7620,7620), layer=28, texttype=0))
sw_dip_x9_piano.add(gdstk.Label('4', (7620,0), layer=28, texttype=0))
sw_dip_x9_piano.add(gdstk.Label('16', (5080,7620), layer=28, texttype=0))
sw_dip_x9_piano.add(gdstk.Label('3', (5080,0), layer=28, texttype=0))
sw_dip_x9_piano.add(gdstk.Label('17', (2540,7620), layer=28, texttype=0))
sw_dip_x9_piano.add(gdstk.Label('2', (2540,0), layer=28, texttype=0))
sw_dip_x9_piano.add(gdstk.Label('18', (0,7620), layer=28, texttype=0))
sw_dip_x9_piano.add(gdstk.Label('1', (0,0), layer=28, texttype=0))
sw_dip_x9_piano.add(gdstk.Label('type', (2000,-4000), layer=9, texttype=0))
sw_dip_x9_piano.add(gdstk.Label('devicename', (10140,10000), layer=9, texttype=0))

lib.write_gds('SW_DIP_x9_Piano.gds')
